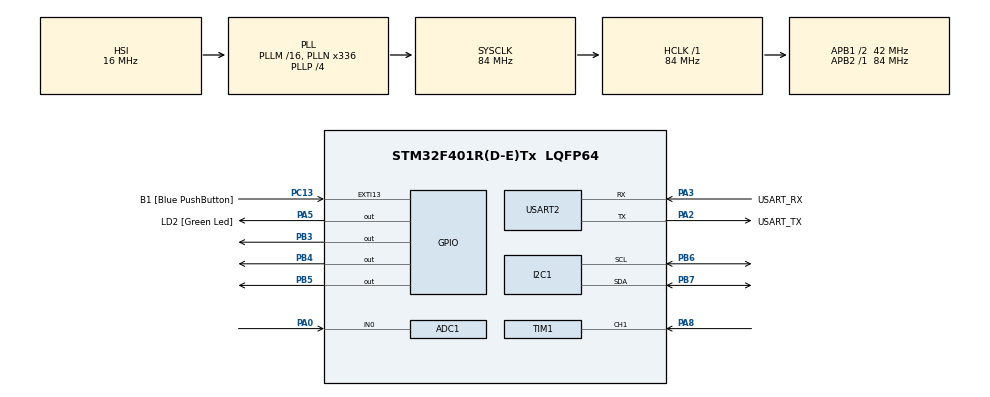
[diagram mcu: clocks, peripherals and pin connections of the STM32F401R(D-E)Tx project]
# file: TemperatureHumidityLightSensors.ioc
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ADC1.Channel-0\#ChannelRegularConversion=ADC_CHANNEL_0
ADC1.NbrOfConversion=1
ADC1.NbrOfConversionFlag=1
ADC1.Rank-0\#ChannelRegularConversion=1
ADC1.SamplingTime-0\#ChannelRegularConversion=ADC_SAMPLETIME_84CYCLES
ADC1.master=1
Mcu.Family=STM32F4
Mcu.Name=STM32F401R(D-E)Tx
Mcu.Package=LQFP64
NVIC.ADC_IRQn=true\:0\:0\:false\:false\:true\:true\:true\:true
NVIC.I2C1_ER_IRQn=true\:0\:0\:false\:false\:true\:true\:true\:true
NVIC.I2C1_EV_IRQn=true\:0\:0\:false\:false\:true\:true\:true\:true
NVIC.PriorityGroup=NVIC_PRIORITYGROUP_4
NVIC.TIM1_CC_IRQn=true\:0\:0\:false\:false\:true\:true\:true\:true
NVIC.TIM2_IRQn=true\:0\:0\:false\:false\:true\:true\:true\:true
NVIC.USART2_IRQn=true\:0\:0\:false\:false\:true\:true\:true\:true
PA0-WKUP.Signal=ADCx_IN0
PA13.GPIO_Label=TMS
PA13.Mode=Serial_Wire
PA13.Signal=SYS_JTMS-SWDIO
PA14.GPIO_Label=TCK
PA14.Mode=Serial_Wire
PA14.Signal=SYS_JTCK-SWCLK
PA2.GPIO_Label=USART_TX
PA2.GPIO_Mode=GPIO_MODE_AF_PP
PA2.GPIO_PuPd=GPIO_NOPULL
PA2.GPIO_Speed=GPIO_SPEED_FREQ_LOW
PA2.Mode=Asynchronous
PA2.Signal=USART2_TX
PA3.GPIO_Label=USART_RX
PA3.GPIO_Mode=GPIO_MODE_AF_PP
PA3.GPIO_PuPd=GPIO_NOPULL
PA3.GPIO_Speed=GPIO_SPEED_FREQ_LOW
PA3.Mode=Asynchronous
PA3.Signal=USART2_RX
PA5.GPIO_Label=LD2 [Green Led]
PA5.GPIO_Mode=GPIO_MODE_OUTPUT_PP
PA5.GPIO_PuPd=GPIO_NOPULL
PA5.GPIO_Speed=GPIO_SPEED_FREQ_LOW
PA5.Signal=GPIO_Output
PA8.Signal=S_TIM1_CH1
PB3.Signal=GPIO_Output
PB4.Signal=GPIO_Output
PB5.Signal=GPIO_Output
PB6.Mode=I2C
PB6.Signal=I2C1_SCL
PB7.Mode=I2C
PB7.Signal=I2C1_SDA
PC13-ANTI_TAMP.GPIO_Label=B1 [Blue PushButton]
PC13-ANTI_TAMP.GPIO_ModeDefaultEXTI=GPIO_MODE_IT_FALLING
PC13-ANTI_TAMP.GPIO_PuPd=GPIO_NOPULL
PC13-ANTI_TAMP.Signal=GPXTI13
PC14-OSC32_IN.Mode=LSE-External-Oscillator
PC14-OSC32_IN.Signal=RCC_OSC32_IN
PC15-OSC32_OUT.Mode=LSE-External-Oscillator
PC15-OSC32_OUT.Signal=RCC_OSC32_OUT
PH0\ -\ OSC_IN.Mode=HSE-External-Clock-Source
PH0\ -\ OSC_IN.Signal=RCC_OSC_IN
PH1\ -\ OSC_OUT.Mode=HSE-External-Clock-Source
PH1\ -\ OSC_OUT.Signal=RCC_OSC_OUT
ProjectManager.HeapSize=0x200
ProjectManager.StackSize=0x400
ProjectManager.TargetToolchain=STM32CubeIDE
RCC.48MHZClocksFreq_Value=48000000
RCC.AHBFreq_Value=84000000
RCC.APB1CLKDivider=RCC_HCLK_DIV2
RCC.APB1Freq_Value=42000000
RCC.APB1TimFreq_Value=84000000
RCC.APB2Freq_Value=84000000
RCC.APB2TimFreq_Value=84000000
RCC.CortexFreq_Value=84000000
RCC.HCLKFreq_Value=84000000
RCC.HSE_VALUE=8000000
RCC.HSI_VALUE=16000000
RCC.PLLN=336
RCC.PLLP=RCC_PLLP_DIV4
RCC.PLLQ=7
RCC.SYSCLKFreq_VALUE=84000000
RCC.SYSCLKSource=RCC_SYSCLKSOURCE_PLLCLK
RCC.VCOOutputFreq_Value=336000000
SH.ADCx_IN0.0=ADC1_IN0,IN0
SH.S_TIM1_CH1.0=TIM1_CH1,Input_Capture1_from_TI1
TIM1.Channel-Input_Capture1_from_TI1=TIM_CHANNEL_1
TIM1.Prescaler=83
TIM2.Period=19999
TIM2.Prescaler=8399
USART2.VirtualMode=VM_ASYNC
VP_TIM1_VS_ClockSourceINT.Mode=Internal
VP_TIM2_VS_ClockSourceINT.Mode=Internal
board=NUCLEO-F401RE

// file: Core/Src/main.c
/* USER CODE BEGIN Header */
/**
  ******************************************************************************
  * @file           : main.c
  * @brief          : Main program body
  ******************************************************************************
  * @attention
  *
  * Copyright (c) 2026 STMicroelectronics.
  * All rights reserved.
  *
  * This software is licensed under terms that can be found in the LICENSE file
  * in the root directory of this software component.
  * If no LICENSE file comes with this software, it is provided AS-IS.
  *
  ******************************************************************************
  */
/* USER CODE END Header */
#include "main.h"

/* USER CODE BEGIN Includes */
#include "light_sensor.h"
#include "dht22.h"
#include <stdbool.h>
#include "sensor_data.h"
#include "status.h"
#include "status_led.h"
#include "oled.h"
#include "telemetry.h"
/* USER CODE END Includes */

ADC_HandleTypeDef hadc1;

I2C_HandleTypeDef hi2c1;

TIM_HandleTypeDef htim1;
TIM_HandleTypeDef htim2;

UART_HandleTypeDef huart2;

/* USER CODE BEGIN PV */
static volatile bool measurementDue = false;

static SensorData sensorData = {
    .temperature = 0.0f,
    .humidity = 0.0f,
    .lightRaw = 0,
    .lightPercent = 0,
    .dhtValid = false,
    .lightValid = false
};

static SystemStatus systemStatus = SYSTEM_STATUS_ERROR;

static bool dhtMeasurementReceived = false;
static bool lightMeasurementReceived = false;

/* USER CODE END PV */

void SystemClock_Config(void);
static void MX_GPIO_Init(void);
static void MX_USART2_UART_Init(void);
static void MX_ADC1_Init(void);
static void MX_TIM2_Init(void);
static void MX_I2C1_Init(void);
static void MX_TIM1_Init(void);

int main(void)
{

  /* MCU Configuration--------------------------------------------------------*/

  /* Reset of all peripherals, Initializes the Flash interface and the Systick. */
  HAL_Init();

  /* Configure the system clock */
  SystemClock_Config();

  /* Initialize all configured peripherals */
  MX_GPIO_Init();
  MX_USART2_UART_Init();
  MX_ADC1_Init();
  MX_TIM2_Init();
  MX_I2C1_Init();
  MX_TIM1_Init();
  /* USER CODE BEGIN 2 */
  LightSensor_Init(&hadc1);
  DHT22_Init(&htim1);
  HAL_TIM_Base_Start_IT(&htim2);
  StatusLed_Init();
  OLED_Init(&hi2c1);
  Telemetry_Init(&huart2);
  /* USER CODE END 2 */

  /* Infinite loop */
  /* USER CODE BEGIN WHILE */
  while (1)
  {

	      DHT22_Process();
	      OLED_Process();

	      if (measurementDue)
	      {
	          measurementDue = false;

	          LightSensor_StartMeasurement();
	          DHT22_StartMeasurement();
	      }

	      if (LightSensor_IsReady())
	      {
	          sensorData.lightRaw = LightSensor_GetRaw();
	          sensorData.lightPercent = LightSensor_RawToPercent(sensorData.lightRaw);
	          sensorData.lightValid = true;
	          lightMeasurementReceived = true;
	      }

	      if (DHT22_IsReady())
	      {
	          DHT22_Data dhtData = DHT22_GetData();

	          sensorData.temperature = dhtData.temperature;
	          sensorData.humidity = dhtData.humidity;
	          sensorData.dhtValid = dhtData.valid;

	          dhtMeasurementReceived = true;
	      }

	      if (dhtMeasurementReceived && lightMeasurementReceived)
	      {
	          dhtMeasurementReceived = false;
	          lightMeasurementReceived = false;

	          systemStatus = Status_Evaluate(&sensorData);

	          StatusLed_Set(systemStatus);

	          if (OLED_IsReady()) OLED_ShowData(&sensorData, systemStatus);

	          Telemetry_Send(&sensorData, systemStatus);
	      }

    /* USER CODE END WHILE */

  }
}

void SystemClock_Config(void)
{
  RCC_OscInitTypeDef RCC_OscInitStruct = {0};
  RCC_ClkInitTypeDef RCC_ClkInitStruct = {0};

  /** Configure the main internal regulator output voltage
  */
  __HAL_RCC_PWR_CLK_ENABLE();
  __HAL_PWR_VOLTAGESCALING_CONFIG(PWR_REGULATOR_VOLTAGE_SCALE2);

  /** Initializes the RCC Oscillators according to the specified parameters
  * in the RCC_OscInitTypeDef structure.
  */
  RCC_OscInitStruct.OscillatorType = RCC_OSCILLATORTYPE_HSI;
  RCC_OscInitStruct.HSIState = RCC_HSI_ON;
  RCC_OscInitStruct.HSICalibrationValue = RCC_HSICALIBRATION_DEFAULT;
  RCC_OscInitStruct.PLL.PLLState = RCC_PLL_ON;
  RCC_OscInitStruct.PLL.PLLSource = RCC_PLLSOURCE_HSI;
  RCC_OscInitStruct.PLL.PLLM = 16;
  RCC_OscInitStruct.PLL.PLLN = 336;
  RCC_OscInitStruct.PLL.PLLP = RCC_PLLP_DIV4;
  RCC_OscInitStruct.PLL.PLLQ = 7;
  if (HAL_RCC_OscConfig(&RCC_OscInitStruct) != HAL_OK)
  {
    Error_Handler();
  }

  /** Initializes the CPU, AHB and APB buses clocks
  */
  RCC_ClkInitStruct.ClockType = RCC_CLOCKTYPE_HCLK|RCC_CLOCKTYPE_SYSCLK
                              |RCC_CLOCKTYPE_PCLK1|RCC_CLOCKTYPE_PCLK2;
  RCC_ClkInitStruct.SYSCLKSource = RCC_SYSCLKSOURCE_PLLCLK;
  RCC_ClkInitStruct.AHBCLKDivider = RCC_SYSCLK_DIV1;
  RCC_ClkInitStruct.APB1CLKDivider = RCC_HCLK_DIV2;
  RCC_ClkInitStruct.APB2CLKDivider = RCC_HCLK_DIV1;

  if (HAL_RCC_ClockConfig(&RCC_ClkInitStruct, FLASH_LATENCY_2) != HAL_OK)
  {
    Error_Handler();
  }
}

static void MX_ADC1_Init(void)
{

  ADC_ChannelConfTypeDef sConfig = {0};

  /** Configure the global features of the ADC (Clock, Resolution, Data Alignment and number of conversion)
  */
  hadc1.Instance = ADC1;
  hadc1.Init.ClockPrescaler = ADC_CLOCK_SYNC_PCLK_DIV4;
  hadc1.Init.Resolution = ADC_RESOLUTION_12B;
  hadc1.Init.ScanConvMode = DISABLE;
  hadc1.Init.ContinuousConvMode = DISABLE;
  hadc1.Init.DiscontinuousConvMode = DISABLE;
  hadc1.Init.ExternalTrigConvEdge = ADC_EXTERNALTRIGCONVEDGE_NONE;
  hadc1.Init.ExternalTrigConv = ADC_SOFTWARE_START;
  hadc1.Init.DataAlign = ADC_DATAALIGN_RIGHT;
  hadc1.Init.NbrOfConversion = 1;
  hadc1.Init.DMAContinuousRequests = DISABLE;
  hadc1.Init.EOCSelection = ADC_EOC_SINGLE_CONV;
  if (HAL_ADC_Init(&hadc1) != HAL_OK)
  {
    Error_Handler();
  }

  /** Configure for the selected ADC regular channel its corresponding rank in the sequencer and its sample time.
  */
  sConfig.Channel = ADC_CHANNEL_0;
  sConfig.Rank = 1;
  sConfig.SamplingTime = ADC_SAMPLETIME_84CYCLES;
  if (HAL_ADC_ConfigChannel(&hadc1, &sConfig) != HAL_OK)
  {
    Error_Handler();
  }

}

static void MX_I2C1_Init(void)
{

  hi2c1.Instance = I2C1;
  hi2c1.Init.ClockSpeed = 100000;
  hi2c1.Init.DutyCycle = I2C_DUTYCYCLE_2;
  hi2c1.Init.OwnAddress1 = 0;
  hi2c1.Init.AddressingMode = I2C_ADDRESSINGMODE_7BIT;
  hi2c1.Init.DualAddressMode = I2C_DUALADDRESS_DISABLE;
  hi2c1.Init.OwnAddress2 = 0;
  hi2c1.Init.GeneralCallMode = I2C_GENERALCALL_DISABLE;
  hi2c1.Init.NoStretchMode = I2C_NOSTRETCH_DISABLE;
  if (HAL_I2C_Init(&hi2c1) != HAL_OK)
  {
    Error_Handler();
  }

}

static void MX_TIM1_Init(void)
{

  TIM_ClockConfigTypeDef sClockSourceConfig = {0};
  TIM_MasterConfigTypeDef sMasterConfig = {0};
  TIM_IC_InitTypeDef sConfigIC = {0};

  htim1.Instance = TIM1;
  htim1.Init.Prescaler = 83;
  htim1.Init.CounterMode = TIM_COUNTERMODE_UP;
  htim1.Init.Period = 65535;
  htim1.Init.ClockDivision = TIM_CLOCKDIVISION_DIV1;
  htim1.Init.RepetitionCounter = 0;
  htim1.Init.AutoReloadPreload = TIM_AUTORELOAD_PRELOAD_DISABLE;
  if (HAL_TIM_Base_Init(&htim1) != HAL_OK)
  {
    Error_Handler();
  }
  sClockSourceConfig.ClockSource = TIM_CLOCKSOURCE_INTERNAL;
  if (HAL_TIM_ConfigClockSource(&htim1, &sClockSourceConfig) != HAL_OK)
  {
    Error_Handler();
  }
  if (HAL_TIM_IC_Init(&htim1) != HAL_OK)
  {
    Error_Handler();
  }
  sMasterConfig.MasterOutputTrigger = TIM_TRGO_RESET;
  sMasterConfig.MasterSlaveMode = TIM_MASTERSLAVEMODE_DISABLE;
  if (HAL_TIMEx_MasterConfigSynchronization(&htim1, &sMasterConfig) != HAL_OK)
  {
    Error_Handler();
  }
  sConfigIC.ICPolarity = TIM_INPUTCHANNELPOLARITY_RISING;
  sConfigIC.ICSelection = TIM_ICSELECTION_DIRECTTI;
  sConfigIC.ICPrescaler = TIM_ICPSC_DIV1;
  sConfigIC.ICFilter = 0;
  if (HAL_TIM_IC_ConfigChannel(&htim1, &sConfigIC, TIM_CHANNEL_1) != HAL_OK)
  {
    Error_Handler();
  }

}

static void MX_TIM2_Init(void)
{

  TIM_ClockConfigTypeDef sClockSourceConfig = {0};
  TIM_MasterConfigTypeDef sMasterConfig = {0};

  htim2.Instance = TIM2;
  htim2.Init.Prescaler = 8399;
  htim2.Init.CounterMode = TIM_COUNTERMODE_UP;
  htim2.Init.Period = 19999;
  htim2.Init.ClockDivision = TIM_CLOCKDIVISION_DIV1;
  htim2.Init.AutoReloadPreload = TIM_AUTORELOAD_PRELOAD_DISABLE;
  if (HAL_TIM_Base_Init(&htim2) != HAL_OK)
  {
    Error_Handler();
  }
  sClockSourceConfig.ClockSource = TIM_CLOCKSOURCE_INTERNAL;
  if (HAL_TIM_ConfigClockSource(&htim2, &sClockSourceConfig) != HAL_OK)
  {
    Error_Handler();
  }
  sMasterConfig.MasterOutputTrigger = TIM_TRGO_RESET;
  sMasterConfig.MasterSlaveMode = TIM_MASTERSLAVEMODE_DISABLE;
  if (HAL_TIMEx_MasterConfigSynchronization(&htim2, &sMasterConfig) != HAL_OK)
  {
    Error_Handler();
  }

}

static void MX_USART2_UART_Init(void)
{

  huart2.Instance = USART2;
  huart2.Init.BaudRate = 115200;
  huart2.Init.WordLength = UART_WORDLENGTH_8B;
  huart2.Init.StopBits = UART_STOPBITS_1;
  huart2.Init.Parity = UART_PARITY_NONE;
  huart2.Init.Mode = UART_MODE_TX_RX;
  huart2.Init.HwFlowCtl = UART_HWCONTROL_NONE;
  huart2.Init.OverSampling = UART_OVERSAMPLING_16;
  if (HAL_UART_Init(&huart2) != HAL_OK)
  {
    Error_Handler();
  }

}

static void MX_GPIO_Init(void)
{
  GPIO_InitTypeDef GPIO_InitStruct = {0};

  /* GPIO Ports Clock Enable */
  __HAL_RCC_GPIOC_CLK_ENABLE();
  __HAL_RCC_GPIOH_CLK_ENABLE();
  __HAL_RCC_GPIOA_CLK_ENABLE();
  __HAL_RCC_GPIOB_CLK_ENABLE();

  /*Configure GPIO pin Output Level */
  HAL_GPIO_WritePin(LD2_GPIO_Port, LD2_Pin, GPIO_PIN_RESET);

  /*Configure GPIO pin Output Level */
  HAL_GPIO_WritePin(GPIOB, GPIO_PIN_3|GPIO_PIN_4|GPIO_PIN_5, GPIO_PIN_RESET);

  /*Configure GPIO pin : B1_Pin */
  GPIO_InitStruct.Pin = B1_Pin;
  GPIO_InitStruct.Mode = GPIO_MODE_IT_FALLING;
  GPIO_InitStruct.Pull = GPIO_NOPULL;
  HAL_GPIO_Init(B1_GPIO_Port, &GPIO_InitStruct);

  /*Configure GPIO pin : LD2_Pin */
  GPIO_InitStruct.Pin = LD2_Pin;
  GPIO_InitStruct.Mode = GPIO_MODE_OUTPUT_PP;
  GPIO_InitStruct.Pull = GPIO_NOPULL;
  GPIO_InitStruct.Speed = GPIO_SPEED_FREQ_LOW;
  HAL_GPIO_Init(LD2_GPIO_Port, &GPIO_InitStruct);

  /*Configure GPIO pins : PB3 PB4 PB5 */
  GPIO_InitStruct.Pin = GPIO_PIN_3|GPIO_PIN_4|GPIO_PIN_5;
  GPIO_InitStruct.Mode = GPIO_MODE_OUTPUT_PP;
  GPIO_InitStruct.Pull = GPIO_NOPULL;
  GPIO_InitStruct.Speed = GPIO_SPEED_FREQ_LOW;
  HAL_GPIO_Init(GPIOB, &GPIO_InitStruct);

}

/* USER CODE BEGIN 4 */
void HAL_TIM_PeriodElapsedCallback(TIM_HandleTypeDef *htim)
{
    if (htim->Instance == TIM2)
    {
        measurementDue = true;
    }
}

void HAL_ADC_ConvCpltCallback(ADC_HandleTypeDef *hadc)
{
    LightSensor_HandleAdcComplete(hadc);
}

void HAL_TIM_IC_CaptureCallback(TIM_HandleTypeDef *htim)
{
    if (htim->Instance == TIM1 && htim->Channel == HAL_TIM_ACTIVE_CHANNEL_1) DHT22_HandleCapture(htim);
}

void HAL_I2C_MasterTxCpltCallback(I2C_HandleTypeDef *hi2c)
{
    if (hi2c->Instance == I2C1) OLED_HandleTxComplete(hi2c);
}

void HAL_I2C_ErrorCallback(I2C_HandleTypeDef *hi2c)
{
    if (hi2c->Instance == I2C1) OLED_HandleError(hi2c);
}

void HAL_UART_TxCpltCallback(UART_HandleTypeDef *huart)
{
    if (huart->Instance == USART2) Telemetry_HandleTxComplete(huart);
}

void HAL_UART_ErrorCallback(UART_HandleTypeDef *huart)
{
    if (huart->Instance == USART2) Telemetry_HandleError(huart);
}
/* USER CODE END 4 */

void Error_Handler(void)
{
  __disable_irq();
  while (1)
  {
  }
}
